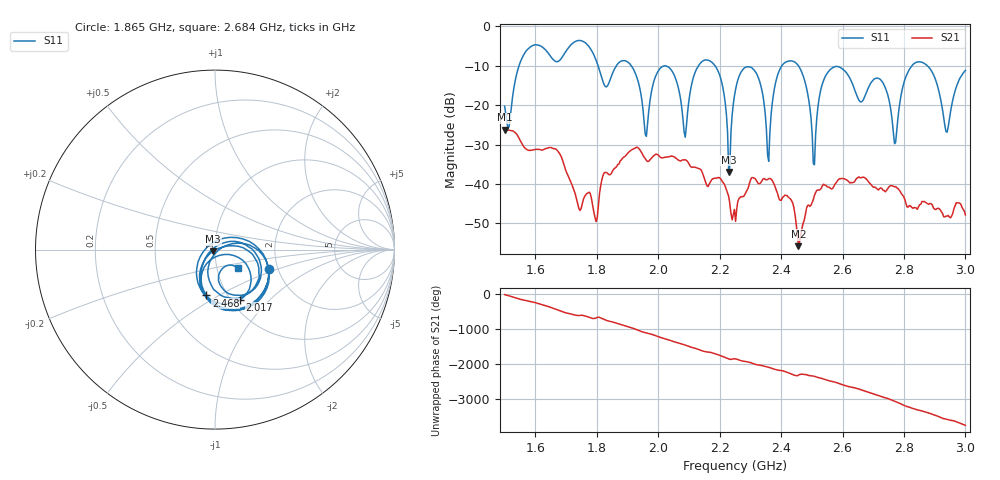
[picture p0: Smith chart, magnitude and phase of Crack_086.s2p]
# HZ S RI R 50
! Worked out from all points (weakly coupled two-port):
!   404 points, 1.5 GHz to 3 GHz, reference 50 ohm
!   highest |S21| = -26.26 dB at 1.5 GHz (marker M1); lowest = -55.8 dB at 2.457 GHz (marker M2)
!   lowest |S11| = -37.0 dB at 2.23 GHz (marker M3), VSWR 1.03, Z = 48.9 - j0.832 ohm
!   |S11| at or under -10 dB: 1.912 GHz to 2.131 GHz (219 MHz wide, 10.8 % of centre); 2.185 GHz to 2.403 GHz (217.6 MHz wide, 9.49 % of centre); 2.456 GHz to 2.826 GHz (369.7 MHz wide, 14 % of centre) (the widest 3 of 6)
!   S12 and S22 are empty: the file has one direction only
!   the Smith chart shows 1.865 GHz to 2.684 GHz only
!   S11 on the Smith chart (normalised r, x): 1.865 GHz: 1.80, -0.43; 2.017 GHz: 1.10, -0.68; 2.468 GHz: 0.80, -0.44; 2.684 GHz: 1.26, -0.27
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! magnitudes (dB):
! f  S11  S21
! 1.5 GHz  -20.3  -26.3
! 1.753 GHz  -3.7  -44.9
! 1.865 GHz  -9.9  -35.6
! 1.962 GHz  -27.9  -34.0
! 2.002 GHz  -11.1  -32.9
! 2.017 GHz  -10.1  -33.4
! 2.088 GHz  -28.2  -33.9
! 2.181 GHz  -9.6  -38.6
! 2.23 GHz  -37.0  -43.2
! 2.252 GHz  -16.0  -49.5
! 2.315 GHz  -11.4  -38.6
! 2.36 GHz  -34.3  -38.7
! 2.393 GHz  -11.4  -43.8
! 2.457 GHz  -10.0  -55.8
! 2.468 GHz  -11.7  -51.4
! 2.501 GHz  -27.4  -44.7
! 2.561 GHz  -10.9  -41.1
! 2.684 GHz  -15.7  -39.4
! 2.751 GHz  -18.4  -40.8
! 2.862 GHz  -9.2  -44.5
! 2.94 GHz  -26.9  -48.2
! 3 GHz  -11.2  -47.9
